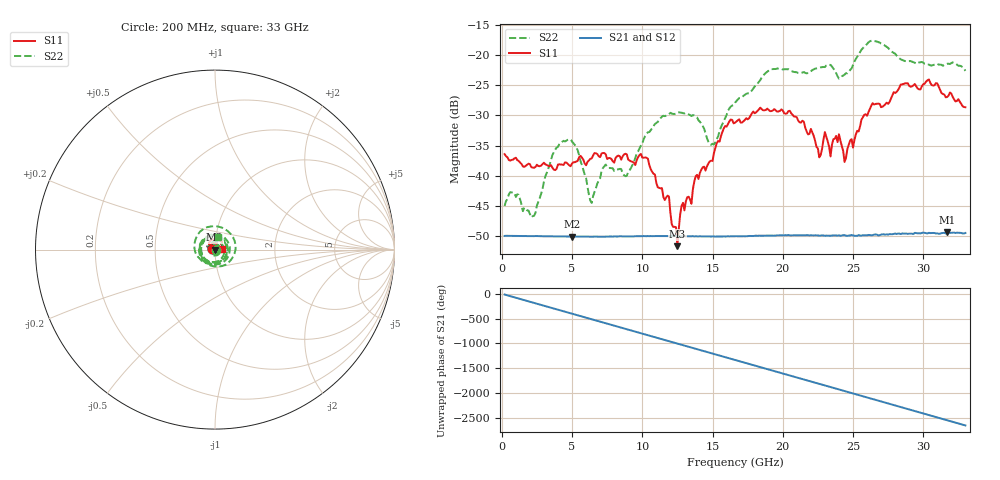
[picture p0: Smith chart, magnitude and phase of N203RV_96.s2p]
# GHZ S RI R 50
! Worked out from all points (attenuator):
!   329 points, 200 MHz to 33 GHz, reference 50 ohm
!   highest |S21| = -49.39 dB at 31.7 GHz (marker M1); lowest = -50.1 dB at 5 GHz (marker M2)
!   lowest |S11| = -51.7 dB at 12.5 GHz (marker M3), VSWR 1.01, Z = 49.7 + j0.00571 ohm
!   |S11| at or under -10 dB: start of sweep to end of sweep
!   |S22| runs from -46.9 to -17.6 dB; largest |S21 - S12| = 7.2e-05
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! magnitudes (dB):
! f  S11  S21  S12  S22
! 200 MHz  -36.4  -50.0  -49.9  -45.0
! 2.3 GHz  -38.7  -50.0  -50.0  -46.6
! 3.7 GHz  -39.0  -50.0  -50.0  -36.1
! 5 GHz  -38.0  -50.1  -50.1  -34.3
! 5.7 GHz  -37.0  -50.1  -50.1  -38.2
! 6.4 GHz  -37.1  -50.1  -50.1  -44.5
! 7.4 GHz  -36.5  -50.1  -50.1  -38.1
! 8.9 GHz  -36.5  -50.0  -50.0  -40.0
! 9.9 GHz  -36.4  -50.0  -50.0  -35.0
! 11.2 GHz  -42.0  -50.0  -50.0  -30.7
! 11.9 GHz  -43.4  -50.0  -50.0  -29.8
! 12.5 GHz  -51.7  -50.0  -50.0  -29.5
! 12.8 GHz  -44.9  -50.0  -50.0  -29.5
! 15.1 GHz  -36.2  -50.0  -50.1  -34.8
! 16.6 GHz  -31.2  -50.0  -50.0  -27.9
! 22.1 GHz  -32.8  -49.9  -49.8  -22.5
! 22.6 GHz  -36.9  -49.9  -49.9  -22.1
! 24 GHz  -33.1  -49.9  -49.9  -23.9
! 24.4 GHz  -37.7  -49.8  -49.8  -23.2
! 27.6 GHz  -27.8  -49.7  -49.7  -19.1
! 31.7 GHz  -26.9  -49.4  -49.6  -21.4
! 33 GHz  -28.6  -49.5  -49.5  -22.6
